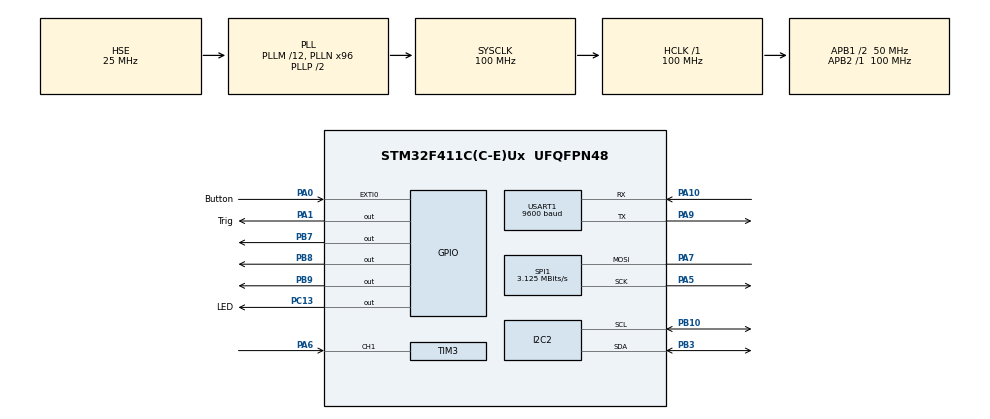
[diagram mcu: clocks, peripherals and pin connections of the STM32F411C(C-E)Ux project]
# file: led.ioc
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Dma.Request0=USART1_RX
Dma.Request1=USART1_TX
Dma.USART1_RX.0.Direction=DMA_PERIPH_TO_MEMORY
Dma.USART1_RX.0.FIFOMode=DMA_FIFOMODE_DISABLE
Dma.USART1_RX.0.Instance=DMA2_Stream2
Dma.USART1_RX.0.MemDataAlignment=DMA_MDATAALIGN_BYTE
Dma.USART1_RX.0.MemInc=DMA_MINC_ENABLE
Dma.USART1_RX.0.Mode=DMA_NORMAL
Dma.USART1_RX.0.PeriphDataAlignment=DMA_PDATAALIGN_BYTE
Dma.USART1_RX.0.PeriphInc=DMA_PINC_DISABLE
Dma.USART1_RX.0.Priority=DMA_PRIORITY_LOW
Dma.USART1_TX.1.Direction=DMA_MEMORY_TO_PERIPH
Dma.USART1_TX.1.FIFOMode=DMA_FIFOMODE_DISABLE
Dma.USART1_TX.1.Instance=DMA2_Stream7
Dma.USART1_TX.1.MemDataAlignment=DMA_MDATAALIGN_BYTE
Dma.USART1_TX.1.MemInc=DMA_MINC_ENABLE
Dma.USART1_TX.1.Mode=DMA_NORMAL
Dma.USART1_TX.1.PeriphDataAlignment=DMA_PDATAALIGN_BYTE
Dma.USART1_TX.1.PeriphInc=DMA_PINC_DISABLE
Dma.USART1_TX.1.Priority=DMA_PRIORITY_LOW
Mcu.Family=STM32F4
Mcu.Name=STM32F411C(C-E)Ux
Mcu.Package=UFQFPN48
NVIC.DMA2_Stream2_IRQn=true\:0\:0\:false\:false\:true\:false\:true\:true
NVIC.DMA2_Stream7_IRQn=true\:0\:0\:false\:false\:true\:false\:true\:true
NVIC.EXTI0_IRQn=true\:0\:0\:false\:false\:true\:true\:true\:true
NVIC.PriorityGroup=NVIC_PRIORITYGROUP_4
NVIC.TIM3_IRQn=true\:0\:0\:false\:false\:true\:true\:true\:true
NVIC.USART1_IRQn=true\:0\:0\:true\:false\:true\:true\:true\:true
PA0-WKUP.GPIO_Label=Button
PA0-WKUP.GPIO_ModeDefaultEXTI=GPIO_MODE_IT_FALLING
PA0-WKUP.GPIO_PuPd=GPIO_PULLUP
PA0-WKUP.Signal=GPXTI0
PA1.GPIO_Label=Trig
PA1.Signal=GPIO_Output
PA10.Mode=Asynchronous
PA10.Signal=USART1_RX
PA13.Mode=Serial_Wire
PA13.Signal=SYS_JTMS-SWDIO
PA14.Mode=Serial_Wire
PA14.Signal=SYS_JTCK-SWCLK
PA5.Mode=Simplex_Bidirectional_Master
PA5.Signal=SPI1_SCK
PA6.Signal=S_TIM3_CH1
PA7.Mode=Simplex_Bidirectional_Master
PA7.Signal=SPI1_MOSI
PA9.Mode=Asynchronous
PA9.Signal=USART1_TX
PB10.Mode=I2C
PB10.Signal=I2C2_SCL
PB3.Mode=I2C
PB3.Signal=I2C2_SDA
PB7.Signal=GPIO_Output
PB8.Signal=GPIO_Output
PB9.Signal=GPIO_Output
PC13-ANTI_TAMP.GPIO_Label=LED
PC13-ANTI_TAMP.PinState=GPIO_PIN_SET
PC13-ANTI_TAMP.Signal=GPIO_Output
PH0\ -\ OSC_IN.Mode=HSE-External-Oscillator
PH0\ -\ OSC_IN.Signal=RCC_OSC_IN
PH1\ -\ OSC_OUT.Mode=HSE-External-Oscillator
PH1\ -\ OSC_OUT.Signal=RCC_OSC_OUT
ProjectManager.HeapSize=0x200
ProjectManager.StackSize=0x400
ProjectManager.TargetToolchain=STM32CubeIDE
RCC.48MHZClocksFreq_Value=50000000
RCC.AHBFreq_Value=100000000
RCC.APB1CLKDivider=RCC_HCLK_DIV2
RCC.APB1Freq_Value=50000000
RCC.APB1TimFreq_Value=100000000
RCC.APB2Freq_Value=100000000
RCC.APB2TimFreq_Value=100000000
RCC.CortexFreq_Value=100000000
RCC.HCLKFreq_Value=100000000
RCC.HSE_VALUE=25000000
RCC.HSI_VALUE=16000000
RCC.LSE_VALUE=32768
RCC.PLLM=12
RCC.PLLN=96
RCC.PLLSourceVirtual=RCC_PLLSOURCE_HSE
RCC.SYSCLKFreq_VALUE=100000000
RCC.SYSCLKSource=RCC_SYSCLKSOURCE_PLLCLK
RCC.VCOOutputFreq_Value=200000000
SH.S_TIM3_CH1.0=TIM3_CH1,Input_Capture1_from_TI1
SPI1.BaudRatePrescaler=SPI_BAUDRATEPRESCALER_32
SPI1.CalculateBaudRate=3.125 MBits/s
SPI1.Direction=SPI_DIRECTION_1LINE
SPI1.Mode=SPI_MODE_MASTER
SPI1.VirtualType=VM_MASTER
TIM3.AutoReloadPreload=TIM_AUTORELOAD_PRELOAD_ENABLE
TIM3.Channel-Input_Capture1_from_TI1=TIM_CHANNEL_1
TIM3.ICPolarity_CH1=TIM_INPUTCHANNELPOLARITY_BOTHEDGE
TIM3.Period=0xffff-1
TIM3.Prescaler=99
USART1.BaudRate=9600
USART1.VirtualMode=VM_ASYNC
VP_TIM3_VS_ClockSourceINT.Mode=Internal
board=custom

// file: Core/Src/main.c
/* USER CODE BEGIN Header */
/**
  ******************************************************************************
  * @file           : main.c
  * @brief          : Main program body
  ******************************************************************************
  * @attention
  *
  * Copyright (c) 2025 STMicroelectronics.
  * All rights reserved.
  *
  * This software is licensed under terms that can be found in the LICENSE file
  * in the root directory of this software component.
  * If no LICENSE file comes with this software, it is provided AS-IS.
  *
  ******************************************************************************
  */
/* USER CODE END Header */
#include "main.h"

/* USER CODE BEGIN Includes */
#include "led.h"
#include "string.h"
#include "ST7735.h"
#include "GFX_FUNCTIONS.h"
#include <stdio.h>
#include "i2c-lcd.h"
/* USER CODE END Includes */

I2C_HandleTypeDef hi2c2;

SPI_HandleTypeDef hspi1;

TIM_HandleTypeDef htim3;

UART_HandleTypeDef huart1;
DMA_HandleTypeDef hdma_usart1_rx;
DMA_HandleTypeDef hdma_usart1_tx;

void SystemClock_Config(void);
static void MX_GPIO_Init(void);
static void MX_DMA_Init(void);
static void MX_TIM3_Init(void);
static void MX_USART1_UART_Init(void);
static void MX_SPI1_Init(void);
static void MX_I2C2_Init(void);

/* USER CODE BEGIN 0 */
void delay (uint16_t time)
{
	__HAL_TIM_SET_COUNTER(&htim3, 0);
	while (__HAL_TIM_GET_COUNTER (&htim3) < time);
}

void HCSR04_Read (void)
{
	HAL_GPIO_WritePin(Trig_GPIO_Port, Trig_Pin, GPIO_PIN_SET);  // pull the TRIG pin HIGH
	delay(10);  // wait for 10 us
	HAL_GPIO_WritePin(Trig_GPIO_Port, Trig_Pin, GPIO_PIN_RESET);  // pull the TRIG pin low

	__HAL_TIM_ENABLE_IT(&htim3, TIM_IT_CC1);
}

int fputc(int ch, FILE *f)
{
    HAL_UART_Transmit(&huart1, (uint8_t *)&ch, 1, 0xFFFF);  // UART3를 통해 문자 전송
    return ch;  // 전송된 문자 반환
}

int32_t IC_Val1 = 0;
uint32_t IC_Val2 = 0;
uint32_t Difference = 0;
uint8_t Is_First_Captured = 0;
uint8_t Distance  = 0;

uint8_t a;
uint8_t flag=0;
uint8_t rx_buffer[1];
char data[10];

/* USER CODE END 0 */

int main(void)
{

  /* MCU Configuration--------------------------------------------------------*/

  /* Reset of all peripherals, Initializes the Flash interface and the Systick. */
  HAL_Init();

  /* Configure the system clock */
  SystemClock_Config();

  /* Initialize all configured peripherals */
  MX_GPIO_Init();
  MX_DMA_Init();
  MX_TIM3_Init();
  MX_USART1_UART_Init();
  MX_SPI1_Init();
  MX_I2C2_Init();
  /* USER CODE BEGIN 2 */
  HAL_TIM_PWM_Start(&htim3, TIM_CHANNEL_1);
  HAL_UART_Receive_DMA(&huart1, rx_buffer, sizeof(rx_buffer));
  ST7735_Init(1);
  fillScreen(BLACK);
  lcd_init();
  HAL_TIM_IC_Start_IT(&htim3, TIM_CHANNEL_1);
  /* USER CODE END 2 */

  /* Infinite loop */
  while (1)
  {

    /* USER CODE BEGIN 3 */
	  HCSR04_Read();
	  lcd_send_data((Distance/100) + 48);   // 100th pos
	  lcd_send_data(((Distance/10)%10) +48);  // 10th pos
	  lcd_send_data((Distance%10)+48);  // 1st pos
	  lcd_send_string(" cm");
	  HAL_Delay(200);

  }
  /* USER CODE END 3 */
}

void SystemClock_Config(void)
{
  RCC_OscInitTypeDef RCC_OscInitStruct = {0};
  RCC_ClkInitTypeDef RCC_ClkInitStruct = {0};

  /** Configure the main internal regulator output voltage
  */
  __HAL_RCC_PWR_CLK_ENABLE();
  __HAL_PWR_VOLTAGESCALING_CONFIG(PWR_REGULATOR_VOLTAGE_SCALE1);

  /** Initializes the RCC Oscillators according to the specified parameters
  * in the RCC_OscInitTypeDef structure.
  */
  RCC_OscInitStruct.OscillatorType = RCC_OSCILLATORTYPE_HSE;
  RCC_OscInitStruct.HSEState = RCC_HSE_ON;
  RCC_OscInitStruct.PLL.PLLState = RCC_PLL_ON;
  RCC_OscInitStruct.PLL.PLLSource = RCC_PLLSOURCE_HSE;
  RCC_OscInitStruct.PLL.PLLM = 12;
  RCC_OscInitStruct.PLL.PLLN = 96;
  RCC_OscInitStruct.PLL.PLLP = RCC_PLLP_DIV2;
  RCC_OscInitStruct.PLL.PLLQ = 4;
  if (HAL_RCC_OscConfig(&RCC_OscInitStruct) != HAL_OK)
  {
    Error_Handler();
  }

  /** Initializes the CPU, AHB and APB buses clocks
  */
  RCC_ClkInitStruct.ClockType = RCC_CLOCKTYPE_HCLK|RCC_CLOCKTYPE_SYSCLK
                              |RCC_CLOCKTYPE_PCLK1|RCC_CLOCKTYPE_PCLK2;
  RCC_ClkInitStruct.SYSCLKSource = RCC_SYSCLKSOURCE_PLLCLK;
  RCC_ClkInitStruct.AHBCLKDivider = RCC_SYSCLK_DIV1;
  RCC_ClkInitStruct.APB1CLKDivider = RCC_HCLK_DIV2;
  RCC_ClkInitStruct.APB2CLKDivider = RCC_HCLK_DIV1;

  if (HAL_RCC_ClockConfig(&RCC_ClkInitStruct, FLASH_LATENCY_3) != HAL_OK)
  {
    Error_Handler();
  }
}

static void MX_I2C2_Init(void)
{

  hi2c2.Instance = I2C2;
  hi2c2.Init.ClockSpeed = 100000;
  hi2c2.Init.DutyCycle = I2C_DUTYCYCLE_2;
  hi2c2.Init.OwnAddress1 = 0;
  hi2c2.Init.AddressingMode = I2C_ADDRESSINGMODE_7BIT;
  hi2c2.Init.DualAddressMode = I2C_DUALADDRESS_DISABLE;
  hi2c2.Init.OwnAddress2 = 0;
  hi2c2.Init.GeneralCallMode = I2C_GENERALCALL_DISABLE;
  hi2c2.Init.NoStretchMode = I2C_NOSTRETCH_DISABLE;
  if (HAL_I2C_Init(&hi2c2) != HAL_OK)
  {
    Error_Handler();
  }

}

static void MX_SPI1_Init(void)
{

  /* SPI1 parameter configuration*/
  hspi1.Instance = SPI1;
  hspi1.Init.Mode = SPI_MODE_MASTER;
  hspi1.Init.Direction = SPI_DIRECTION_1LINE;
  hspi1.Init.DataSize = SPI_DATASIZE_8BIT;
  hspi1.Init.CLKPolarity = SPI_POLARITY_LOW;
  hspi1.Init.CLKPhase = SPI_PHASE_1EDGE;
  hspi1.Init.NSS = SPI_NSS_SOFT;
  hspi1.Init.BaudRatePrescaler = SPI_BAUDRATEPRESCALER_32;
  hspi1.Init.FirstBit = SPI_FIRSTBIT_MSB;
  hspi1.Init.TIMode = SPI_TIMODE_DISABLE;
  hspi1.Init.CRCCalculation = SPI_CRCCALCULATION_DISABLE;
  hspi1.Init.CRCPolynomial = 10;
  if (HAL_SPI_Init(&hspi1) != HAL_OK)
  {
    Error_Handler();
  }

}

static void MX_TIM3_Init(void)
{

  TIM_ClockConfigTypeDef sClockSourceConfig = {0};
  TIM_MasterConfigTypeDef sMasterConfig = {0};
  TIM_IC_InitTypeDef sConfigIC = {0};

  htim3.Instance = TIM3;
  htim3.Init.Prescaler = 99;
  htim3.Init.CounterMode = TIM_COUNTERMODE_UP;
  htim3.Init.Period = 0xffff-1;
  htim3.Init.ClockDivision = TIM_CLOCKDIVISION_DIV1;
  htim3.Init.AutoReloadPreload = TIM_AUTORELOAD_PRELOAD_ENABLE;
  if (HAL_TIM_Base_Init(&htim3) != HAL_OK)
  {
    Error_Handler();
  }
  sClockSourceConfig.ClockSource = TIM_CLOCKSOURCE_INTERNAL;
  if (HAL_TIM_ConfigClockSource(&htim3, &sClockSourceConfig) != HAL_OK)
  {
    Error_Handler();
  }
  if (HAL_TIM_IC_Init(&htim3) != HAL_OK)
  {
    Error_Handler();
  }
  sMasterConfig.MasterOutputTrigger = TIM_TRGO_RESET;
  sMasterConfig.MasterSlaveMode = TIM_MASTERSLAVEMODE_DISABLE;
  if (HAL_TIMEx_MasterConfigSynchronization(&htim3, &sMasterConfig) != HAL_OK)
  {
    Error_Handler();
  }
  sConfigIC.ICPolarity = TIM_INPUTCHANNELPOLARITY_BOTHEDGE;
  sConfigIC.ICSelection = TIM_ICSELECTION_DIRECTTI;
  sConfigIC.ICPrescaler = TIM_ICPSC_DIV1;
  sConfigIC.ICFilter = 0;
  if (HAL_TIM_IC_ConfigChannel(&htim3, &sConfigIC, TIM_CHANNEL_1) != HAL_OK)
  {
    Error_Handler();
  }

}

static void MX_USART1_UART_Init(void)
{

  huart1.Instance = USART1;
  huart1.Init.BaudRate = 9600;
  huart1.Init.WordLength = UART_WORDLENGTH_8B;
  huart1.Init.StopBits = UART_STOPBITS_1;
  huart1.Init.Parity = UART_PARITY_NONE;
  huart1.Init.Mode = UART_MODE_TX_RX;
  huart1.Init.HwFlowCtl = UART_HWCONTROL_NONE;
  huart1.Init.OverSampling = UART_OVERSAMPLING_16;
  if (HAL_UART_Init(&huart1) != HAL_OK)
  {
    Error_Handler();
  }

}

static void MX_DMA_Init(void)
{

  /* DMA controller clock enable */
  __HAL_RCC_DMA2_CLK_ENABLE();

  /* DMA interrupt init */
  /* DMA2_Stream2_IRQn interrupt configuration */
  HAL_NVIC_SetPriority(DMA2_Stream2_IRQn, 0, 0);
  HAL_NVIC_EnableIRQ(DMA2_Stream2_IRQn);
  /* DMA2_Stream7_IRQn interrupt configuration */
  HAL_NVIC_SetPriority(DMA2_Stream7_IRQn, 0, 0);
  HAL_NVIC_EnableIRQ(DMA2_Stream7_IRQn);

}

static void MX_GPIO_Init(void)
{
  GPIO_InitTypeDef GPIO_InitStruct = {0};

  /* GPIO Ports Clock Enable */
  __HAL_RCC_GPIOC_CLK_ENABLE();
  __HAL_RCC_GPIOH_CLK_ENABLE();
  __HAL_RCC_GPIOA_CLK_ENABLE();
  __HAL_RCC_GPIOB_CLK_ENABLE();

  /*Configure GPIO pin Output Level */
  HAL_GPIO_WritePin(LED_GPIO_Port, LED_Pin, GPIO_PIN_SET);

  /*Configure GPIO pin Output Level */
  HAL_GPIO_WritePin(Trig_GPIO_Port, Trig_Pin, GPIO_PIN_RESET);

  /*Configure GPIO pin Output Level */
  HAL_GPIO_WritePin(GPIOB, GPIO_PIN_7|GPIO_PIN_8|GPIO_PIN_9, GPIO_PIN_RESET);

  /*Configure GPIO pin : LED_Pin */
  GPIO_InitStruct.Pin = LED_Pin;
  GPIO_InitStruct.Mode = GPIO_MODE_OUTPUT_PP;
  GPIO_InitStruct.Pull = GPIO_NOPULL;
  GPIO_InitStruct.Speed = GPIO_SPEED_FREQ_LOW;
  HAL_GPIO_Init(LED_GPIO_Port, &GPIO_InitStruct);

  /*Configure GPIO pin : Button_Pin */
  GPIO_InitStruct.Pin = Button_Pin;
  GPIO_InitStruct.Mode = GPIO_MODE_IT_FALLING;
  GPIO_InitStruct.Pull = GPIO_PULLUP;
  HAL_GPIO_Init(Button_GPIO_Port, &GPIO_InitStruct);

  /*Configure GPIO pin : Trig_Pin */
  GPIO_InitStruct.Pin = Trig_Pin;
  GPIO_InitStruct.Mode = GPIO_MODE_OUTPUT_PP;
  GPIO_InitStruct.Pull = GPIO_NOPULL;
  GPIO_InitStruct.Speed = GPIO_SPEED_FREQ_LOW;
  HAL_GPIO_Init(Trig_GPIO_Port, &GPIO_InitStruct);

  /*Configure GPIO pins : PB7 PB8 PB9 */
  GPIO_InitStruct.Pin = GPIO_PIN_7|GPIO_PIN_8|GPIO_PIN_9;
  GPIO_InitStruct.Mode = GPIO_MODE_OUTPUT_PP;
  GPIO_InitStruct.Pull = GPIO_NOPULL;
  GPIO_InitStruct.Speed = GPIO_SPEED_FREQ_LOW;
  HAL_GPIO_Init(GPIOB, &GPIO_InitStruct);

  /* EXTI interrupt init*/
  HAL_NVIC_SetPriority(EXTI0_IRQn, 0, 0);
  HAL_NVIC_EnableIRQ(EXTI0_IRQn);

}

/* USER CODE BEGIN 4 */
void HAL_GPIO_EXTI_Callback(uint16_t GPIO_Pin)
{
    if (GPIO_Pin == GPIO_PIN_0)
    {

     if (HAL_GPIO_ReadPin(Button_GPIO_Port, Button_Pin)==0 )
     {
    	 HAL_GPIO_TogglePin(LED_GPIO_Port, LED_Pin);
     }

    }
}

void HAL_TIM_IC_CaptureCallback(TIM_HandleTypeDef *htim)
{
	if (htim->Channel == HAL_TIM_ACTIVE_CHANNEL_1)
		{
			if (Is_First_Captured==0)
			{
				IC_Val1 = HAL_TIM_ReadCapturedValue(htim, TIM_CHANNEL_1);
				Is_First_Captured = 1;

				__HAL_TIM_SET_CAPTUREPOLARITY(htim, TIM_CHANNEL_1, TIM_INPUTCHANNELPOLARITY_FALLING);
			}

			else if (Is_First_Captured==1)   //
			{
				IC_Val2 = HAL_TIM_ReadCapturedValue(htim, TIM_CHANNEL_1);
				__HAL_TIM_SET_COUNTER(htim, 0);
				if (IC_Val2 > IC_Val1)
				{
					Difference = IC_Val2-IC_Val1;
				}

				else if (IC_Val1 > IC_Val2)
				{
					Difference = (0xffff - IC_Val1) + IC_Val2;
				}

				Distance = (Difference * .034)/2;
				Is_First_Captured = 0;

				__HAL_TIM_SET_CAPTUREPOLARITY(htim, TIM_CHANNEL_1, TIM_INPUTCHANNELPOLARITY_RISING);
				__HAL_TIM_DISABLE_IT(&htim3, TIM_IT_CC1);
			}
			LED_Toggle();
		}
}

/*void HAL_UART_RxCpltCallback(UART_HandleTypeDef *huart)
{
	flag=1;
	uint32_t pre_time = HAL_GetTick();

	if ((huart->Instance == USART1) && (flag==1))
	{
		HAL_UART_Transmit_DMA(&huart1, rx_buffer, sizeof(rx_buffer));
	    LED_Toggle();
	  if (HAL_GetTick()-pre_time > 300)
		{
		  HAL_GPIO_WritePin(LED_GPIO_Port, LED_Pin, GPIO_PIN_SET);
		}
	  HAL_UART_Receive_DMA(&huart1, rx_buffer, sizeof(rx_buffer));
	}

}*/

/* USER CODE END 4 */

void Error_Handler(void)
{
  __disable_irq();
  while (1)
  {
  }
}
